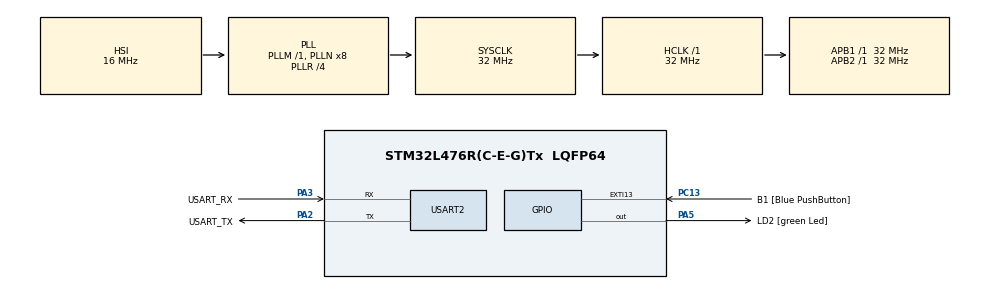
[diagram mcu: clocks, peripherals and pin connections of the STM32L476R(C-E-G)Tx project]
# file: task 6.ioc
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Mcu.Family=STM32L4
Mcu.Name=STM32L476R(C-E-G)Tx
Mcu.Package=LQFP64
NVIC.PriorityGroup=NVIC_PRIORITYGROUP_4
PA13\ (JTMS-SWDIO).GPIO_Label=TMS
PA13\ (JTMS-SWDIO).Mode=Serial_Wire
PA13\ (JTMS-SWDIO).Signal=SYS_JTMS-SWDIO
PA14\ (JTCK-SWCLK).GPIO_Label=TCK
PA14\ (JTCK-SWCLK).Mode=Serial_Wire
PA14\ (JTCK-SWCLK).Signal=SYS_JTCK-SWCLK
PA2.GPIO_Label=USART_TX
PA2.GPIO_Mode=GPIO_MODE_AF_PP
PA2.GPIO_PuPd=GPIO_NOPULL
PA2.GPIO_Speed=GPIO_SPEED_FREQ_VERY_HIGH
PA2.Mode=Asynchronous
PA2.Signal=USART2_TX
PA3.GPIO_Label=USART_RX
PA3.GPIO_Mode=GPIO_MODE_AF_PP
PA3.GPIO_PuPd=GPIO_NOPULL
PA3.GPIO_Speed=GPIO_SPEED_FREQ_VERY_HIGH
PA3.Mode=Asynchronous
PA3.Signal=USART2_RX
PA5.GPIO_Label=LD2 [green Led]
PA5.GPIO_ModeDefaultOutputPP=GPIO_MODE_OUTPUT_PP
PA5.GPIO_PuPd=GPIO_NOPULL
PA5.GPIO_Speed=GPIO_SPEED_FREQ_LOW
PA5.Signal=GPIO_Output
PB3\ (JTDO-TRACESWO).GPIO_Label=SWO
PB3\ (JTDO-TRACESWO).Signal=SYS_JTDO-SWO
PC13.GPIO_Label=B1 [Blue PushButton]
PC13.GPIO_ModeDefaultEXTI=GPIO_MODE_IT_FALLING
PC13.GPIO_PuPd=GPIO_NOPULL
PC13.Signal=GPXTI13
PC14-OSC32_IN\ (PC14).Mode=LSE-External-Oscillator
PC14-OSC32_IN\ (PC14).Signal=RCC_OSC32_IN
PC15-OSC32_OUT\ (PC15).Mode=LSE-External-Oscillator
PC15-OSC32_OUT\ (PC15).Signal=RCC_OSC32_OUT
PH0-OSC_IN\ (PH0).Signal=RCC_OSC_IN
PH1-OSC_OUT\ (PH1).Signal=RCC_OSC_OUT
ProjectManager.HeapSize=0x200
ProjectManager.StackSize=0x400
ProjectManager.TargetToolchain=STM32CubeIDE
RCC.ADCFreq_Value=64000000
RCC.AHBFreq_Value=32000000
RCC.APB1Freq_Value=32000000
RCC.APB1TimFreq_Value=32000000
RCC.APB2Freq_Value=32000000
RCC.APB2TimFreq_Value=32000000
RCC.CortexFreq_Value=32000000
RCC.HCLKFreq_Value=32000000
RCC.HSE_VALUE=8000000
RCC.HSI_VALUE=16000000
RCC.MSI_VALUE=4000000
RCC.PLLR=RCC_PLLR_DIV4
RCC.PLLSourceVirtual=RCC_PLLSOURCE_HSI
RCC.PREFETCH_ENABLE=1
RCC.SYSCLKFreq_VALUE=32000000
RCC.SYSCLKSource=RCC_SYSCLKSOURCE_PLLCLK
RCC.USBFreq_Value=64000000
RCC.VCOOutputFreq_Value=128000000
USART2.VirtualMode-Asynchronous=VM_ASYNC
board=NUCLEO-L476RG

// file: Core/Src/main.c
/* USER CODE BEGIN Header */
/**
  ******************************************************************************
  * @file           : main.c
  * @brief          : Main program body
  ******************************************************************************
  * @attention
  *
  * Copyright (c) 2022 STMicroelectronics.
  * All rights reserved.
  *
  * This software is licensed under terms that can be found in the LICENSE file
  * in the root directory of this software component.
  * If no LICENSE file comes with this software, it is provided AS-IS.
  *
  ******************************************************************************
  */
/* USER CODE END Header */
#include "main.h"

/* USER CODE BEGIN Includes */
#include <stdio.h>
#include <string.h>
/* USER CODE END Includes */

/* USER CODE BEGIN PD */
# define MEGA 1000000
# define MEGA10 10000000
/* USER CODE END PD */

 UART_HandleTypeDef huart2;

void SystemClock_Config(void);
static void MX_GPIO_Init(void);
static void MX_USART2_UART_Init(void);

/* USER CODE BEGIN 0 */

/////////////////////////////////////////////////////////////////////////
// REdirecting printf to UART
/////////////////////////////////////////////////////////////////////////
int _write(int fd, char* ptr, int len)
{
    HAL_UART_Transmit(&huart2, (uint8_t *) ptr, len, HAL_MAX_DELAY);
    return len;
}
/* USER CODE END 0 */

int main(void)
{

  /* MCU Configuration--------------------------------------------------------*/

  /* Reset of all peripherals, Initializes the Flash interface and the Systick. */
  HAL_Init();

  /* Configure the system clock */
  SystemClock_Config();

  /* Initialize all configured peripherals */
  MX_GPIO_Init();
  MX_USART2_UART_Init();

  /* Infinite loop */
  while (1)
  {

    /* USER CODE BEGIN 3 */
	  static  uint32_t counter = 0;
	  static  uint32_t temp = 0;
	  static  uint32_t distance = 0;
	  static  uint32_t countGetTick = 0;

	  counter++;
	  if (counter == MEGA10)
	  {
		  countGetTick = HAL_GetTick();
		  distance= countGetTick-temp;
		  temp= countGetTick;
		  printf ("countGetTick= %ld distance=%ld \n\r" ,countGetTick ,distance );
		  counter=0;
	  }

  /* USER CODE END 3 */
}

void SystemClock_Config(void)
{
  RCC_OscInitTypeDef RCC_OscInitStruct = {0};
  RCC_ClkInitTypeDef RCC_ClkInitStruct = {0};

  /** Configure the main internal regulator output voltage
  */
  if (HAL_PWREx_ControlVoltageScaling(PWR_REGULATOR_VOLTAGE_SCALE1) != HAL_OK)
  {
    Error_Handler();
  }

  /** Initializes the RCC Oscillators according to the specified parameters
  * in the RCC_OscInitTypeDef structure.
  */
  RCC_OscInitStruct.OscillatorType = RCC_OSCILLATORTYPE_HSI;
  RCC_OscInitStruct.HSIState = RCC_HSI_ON;
  RCC_OscInitStruct.HSICalibrationValue = RCC_HSICALIBRATION_DEFAULT;
  RCC_OscInitStruct.PLL.PLLState = RCC_PLL_ON;
  RCC_OscInitStruct.PLL.PLLSource = RCC_PLLSOURCE_HSI;
  RCC_OscInitStruct.PLL.PLLM = 1;
  RCC_OscInitStruct.PLL.PLLN = 8;
  RCC_OscInitStruct.PLL.PLLP = RCC_PLLP_DIV7;
  RCC_OscInitStruct.PLL.PLLQ = RCC_PLLQ_DIV2;
  RCC_OscInitStruct.PLL.PLLR = RCC_PLLR_DIV4;
  if (HAL_RCC_OscConfig(&RCC_OscInitStruct) != HAL_OK)
  {
    Error_Handler();
  }

  /** Initializes the CPU, AHB and APB buses clocks
  */
  RCC_ClkInitStruct.ClockType = RCC_CLOCKTYPE_HCLK|RCC_CLOCKTYPE_SYSCLK
                              |RCC_CLOCKTYPE_PCLK1|RCC_CLOCKTYPE_PCLK2;
  RCC_ClkInitStruct.SYSCLKSource = RCC_SYSCLKSOURCE_PLLCLK;
  RCC_ClkInitStruct.AHBCLKDivider = RCC_SYSCLK_DIV1;
  RCC_ClkInitStruct.APB1CLKDivider = RCC_HCLK_DIV1;
  RCC_ClkInitStruct.APB2CLKDivider = RCC_HCLK_DIV1;

  if (HAL_RCC_ClockConfig(&RCC_ClkInitStruct, FLASH_LATENCY_1) != HAL_OK)
  {
    Error_Handler();
  }
}

static void MX_USART2_UART_Init(void)
{

  huart2.Instance = USART2;
  huart2.Init.BaudRate = 115200;
  huart2.Init.WordLength = UART_WORDLENGTH_8B;
  huart2.Init.StopBits = UART_STOPBITS_1;
  huart2.Init.Parity = UART_PARITY_NONE;
  huart2.Init.Mode = UART_MODE_TX_RX;
  huart2.Init.HwFlowCtl = UART_HWCONTROL_NONE;
  huart2.Init.OverSampling = UART_OVERSAMPLING_16;
  huart2.Init.OneBitSampling = UART_ONE_BIT_SAMPLE_DISABLE;
  huart2.AdvancedInit.AdvFeatureInit = UART_ADVFEATURE_NO_INIT;
  if (HAL_UART_Init(&huart2) != HAL_OK)
  {
    Error_Handler();
  }

}

static void MX_GPIO_Init(void)
{
  GPIO_InitTypeDef GPIO_InitStruct = {0};

  /* GPIO Ports Clock Enable */
  __HAL_RCC_GPIOC_CLK_ENABLE();
  __HAL_RCC_GPIOH_CLK_ENABLE();
  __HAL_RCC_GPIOA_CLK_ENABLE();
  __HAL_RCC_GPIOB_CLK_ENABLE();

  /*Configure GPIO pin Output Level */
  HAL_GPIO_WritePin(LD2_GPIO_Port, LD2_Pin, GPIO_PIN_RESET);

  /*Configure GPIO pin : B1_Pin */
  GPIO_InitStruct.Pin = B1_Pin;
  GPIO_InitStruct.Mode = GPIO_MODE_IT_FALLING;
  GPIO_InitStruct.Pull = GPIO_NOPULL;
  HAL_GPIO_Init(B1_GPIO_Port, &GPIO_InitStruct);

  /*Configure GPIO pin : LD2_Pin */
  GPIO_InitStruct.Pin = LD2_Pin;
  GPIO_InitStruct.Mode = GPIO_MODE_OUTPUT_PP;
  GPIO_InitStruct.Pull = GPIO_NOPULL;
  GPIO_InitStruct.Speed = GPIO_SPEED_FREQ_LOW;
  HAL_GPIO_Init(LD2_GPIO_Port, &GPIO_InitStruct);

}

void Error_Handler(void)
{
  __disable_irq();
  while (1)
  {
  }
}
